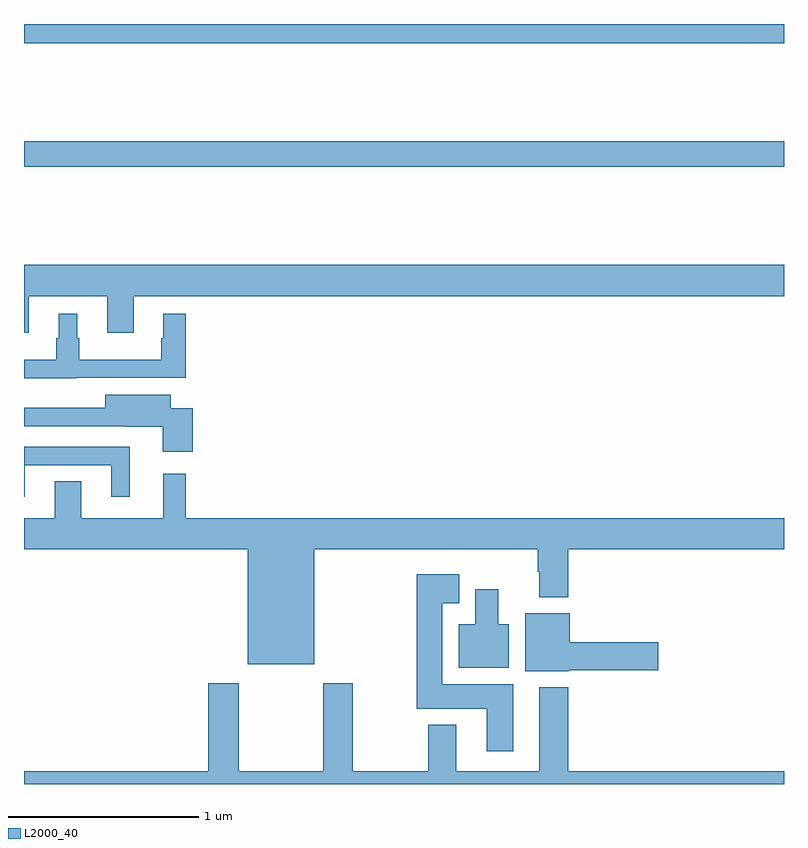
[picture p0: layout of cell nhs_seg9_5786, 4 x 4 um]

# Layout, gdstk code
import gdstk
lib = gdstk.Library(unit=1e-6, precision=1e-09)
def R(c, l, rs):  # rectangles x0, y0, x1, y1
    for r in rs: c.add(gdstk.rectangle(r[:2], r[2:], *l))
def P(c, l, *ps):  # polygons
    for p in ps: c.add(gdstk.Polygon(p, *l))
L2000_40 = (2000, 40)

nhs_seg9_5786 = lib.new_cell('nhs_seg9_5786')
R(nhs_seg9_5786, L2000_40, [(447,1215.748,451,1215.884), (447,1216.4,451,1216.5)])
P(nhs_seg9_5786, L2000_40, [(447.025,1215.068),(447.437,1215.068),(447.437,1214.874),(447.577,1214.874),(447.577,1215.068),(451,1215.068),(451,1215.232),(447,1215.232),(447,1214.874),(447.025,1214.874)],
  [(447.276,1214.637),(447.851,1214.637),(447.851,1214.974),(447.734,1214.974),(447.734,1214.846),(447.723,1214.846),(447.723,1214.734),(447.292,1214.734),(447.292,1214.846),(447.28,1214.846),(447.28,1214.974),(447.182,1214.974),(447.182,1214.846),(447.171,1214.846),(447.171,1214.734),(447,1214.734),(447,1214.636),(447.276,1214.636)],
  [(447.887,1214.478),(447.772,1214.478),(447.772,1214.548),(447.428,1214.548),(447.428,1214.479),(447,1214.479),(447,1214.382),(447.532,1214.382),(447.532,1214.381),(447.731,1214.381),(447.731,1214.25),(447.887,1214.25)],
  [(447.004,1214.178),(447.458,1214.178),(447.458,1214.013),(447.557,1214.013),(447.557,1214.274),(447,1214.274),(447,1214.013),(447.004,1214.013)],
  [(448.528,1213.736),(449.704,1213.736),(449.704,1213.616),(449.711,1213.616),(449.711,1213.484),(449.864,1213.484),(449.864,1213.736),(451,1213.736),(451,1213.9),(447.851,1213.9),(447.851,1214.134),(447.734,1214.134),(447.734,1213.9),(447.301,1213.9),(447.301,1214.093),(447.161,1214.093),(447.161,1213.9),(447,1213.9),(447,1213.736),(448.178,1213.736),(448.178,1213.13),(448.528,1213.13)],
  [(449.575,1213.024),(449.2,1213.024),(449.2,1213.451),(449.29,1213.451),(449.29,1213.603),(449.066,1213.603),(449.066,1212.896),(449.435,1212.896),(449.435,1212.672),(449.575,1212.672)],
  [(449.551,1213.342),(449.497,1213.342),(449.497,1213.525),(449.375,1213.525),(449.375,1213.342),(449.288,1213.342),(449.288,1213.112),(449.551,1213.112)],
  [(449.868,1213.1),(450.337,1213.1),(450.337,1213.247),(449.872,1213.247),(449.872,1213.399),(449.639,1213.399),(449.639,1213.094),(449.868,1213.094)],
  [(451,1212.568),(449.864,1212.568),(449.864,1213.009),(449.711,1213.009),(449.711,1212.568),(449.275,1212.568),(449.275,1212.811),(449.128,1212.811),(449.128,1212.568),(448.731,1212.568),(448.731,1213.03),(448.576,1213.03),(448.576,1212.568),(448.131,1212.568),(448.131,1213.03),(447.971,1213.03),(447.971,1212.568),(447,1212.568),(447,1212.5),(451,1212.5)])

lib.write_gds('nhs_seg9_5786.gds')
